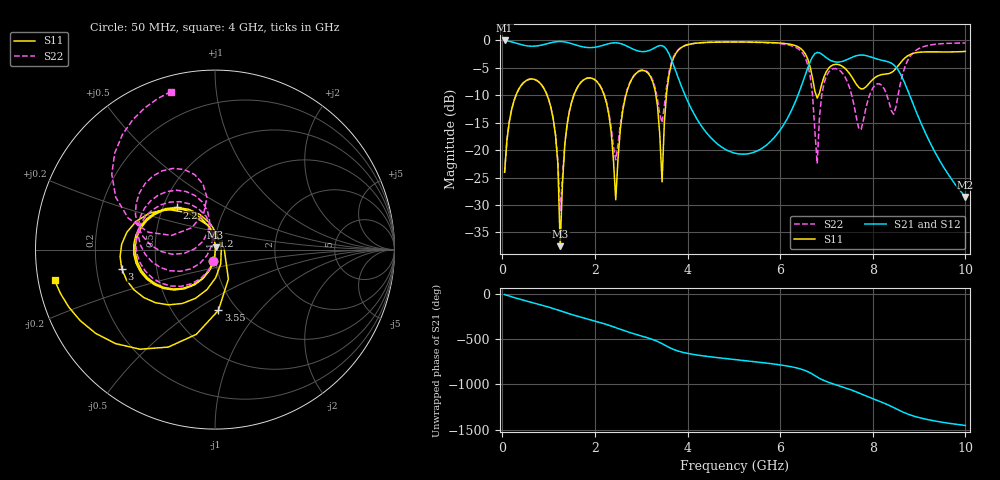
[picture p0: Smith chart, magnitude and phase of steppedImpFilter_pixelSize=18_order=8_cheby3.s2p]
! freq	dB(S11)	phase(S11)	dB(S12)	phase(S12)
!  dB(S21)	phase(S21)	dB(S22)	phase(S22)
!S-par simulation data
#  GHz  S  DB  R 50
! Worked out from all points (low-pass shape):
!   200 points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, 50 MHz to 10 GHz, reference 50 ohm
!   highest |S21| = -0.03 dB at 50 MHz (marker M1); lowest = -28.5 dB at 10 GHz (marker M2)
!   |S21| within 3 dB of the highest: start of sweep to 3.628 GHz; 7.573 GHz to 7.951 GHz (378.1 MHz wide, 4.87 % of centre) (the widest 2 of 3)
!   lowest |S11| = -37.5 dB at 1.25 GHz (marker M3), VSWR 1.03, Z = 50.3 + j1.31 ohm
!   |S11| at or under -10 dB: start of sweep to 295.7 MHz; 966.8 MHz to 1.546 GHz (579 MHz wide, 46.1 % of centre); 2.201 GHz to 2.671 GHz (470.2 MHz wide, 19.3 % of centre) (the widest 3 of 5)
!   |S22| runs from -31.1 to -0.3 dB; largest |S21 - S12| = 0
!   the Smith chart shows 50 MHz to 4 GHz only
!   S11 on the Smith chart (normalised r, x): 50 MHz: 0.97, -0.12; 1.2 GHz: 0.97, +0.15; 2.2 GHz: 0.59, +0.31; 3 GHz: 0.31, -0.09; 3.55 GHz: 0.82, -0.63; 4 GHz: 0.05, -0.09
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0.05  -24.04 -98.3  -0.03 -8.4  -0.03 -8.4  -24.04 -98.9
0.6  -7.06 -176.8  -1.07 -90.4  -1.07 -90.4  -7.07 175.5
1.2  -22.45 96.5  -0.24 -179.2  -0.24 -179.2  -22.05 99.4
1.25  -37.50 76.8  -0.22 172.4  -0.22 172.4  -31.11 135.3
1.4  -15.33 -112.0  -0.38 147.2  -0.38 147.2  -15.25 -141.6
1.75  -7.26 -163.5  -1.22 94.1  -1.22 94.1  -7.24 169.8
2.2  -9.98 132.1  -0.85 29.2  -0.85 29.2  -9.84 110.4
2.45  -29.06 4.1  -0.46 -14.2  -0.46 -14.2  -21.78 145.1
3  -5.51 -168.4  -2.05 -105.3  -2.05 -105.3  -5.42 136.5
3.4  -17.07 105.3  -0.97 -177.7  -0.97 -177.7  -13.50 107.3
3.55  -9.40 -86.8  -1.71 141.6  -1.71 141.6  -8.31 165.4
4  -0.82 -169.2  -11.04 62.1  -11.04 62.1  -0.78 105.6
5.05  -0.32 128.5  -20.62 -8.0  -20.62 -8.0  -0.33 32.2
6.35  -1.05 55.1  -10.74 -97.7  -10.74 -97.7  -1.35 -61.3
6.7  -6.92 19.5  -2.99 -168.1  -2.99 -168.1  -10.00 -139.9
6.8  -10.52 42.5  -2.21 161.2  -2.21 161.2  -22.44 79.7
7.05  -5.05 54.5  -3.49 101.8  -3.49 101.8  -5.75 -34.8
7.65  -8.06 10.8  -2.80 -4.6  -2.80 -4.6  -14.24 -179.7
8.35  -6.06 -2.5  -3.97 -151.3  -3.97 -151.3  -11.28 -106.7
8.7  -3.18 -26.8  -7.98 123.5  -7.98 123.5  -4.69 59.5
9.25  -2.11 -95.3  -18.87 44.4  -18.87 44.4  -0.85 -17.4
10  -2.03 -176.8  -28.53 -13.7  -28.53 -13.7  -0.49 -57.7
